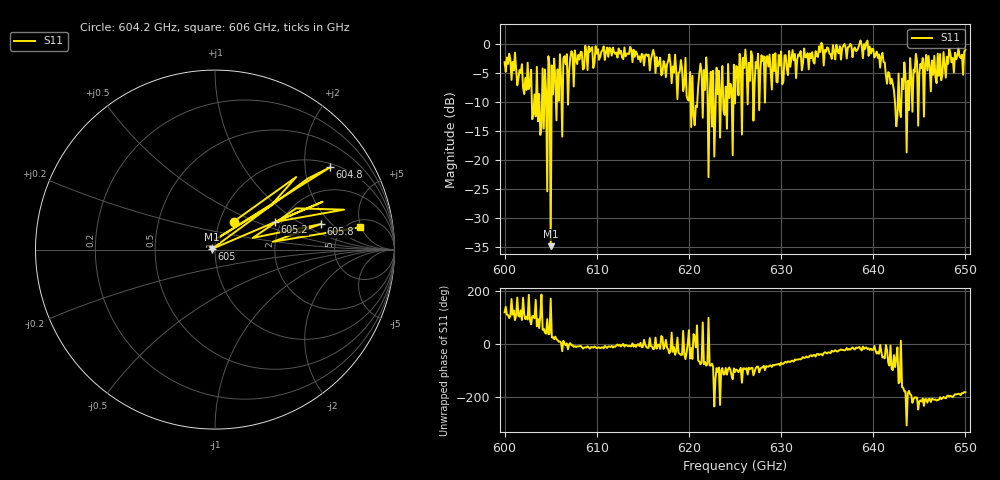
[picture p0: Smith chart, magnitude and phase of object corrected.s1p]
!Created with skrf (http://scikit-rf.org).
# GHz S MA R 50.0
!freq magS11 angS11
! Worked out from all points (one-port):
!   401 points, 600 GHz to 650 GHz, reference 50 ohm
!   lowest |S11| = -34.9 dB at 605 GHz (marker M1), VSWR 1.04, Z = 48.3 + j0.304 ohm
!   |S11| at or under -10 dB: 602.9569 GHz to 603.2003 GHz (243.4 MHz wide, 0.0404 % of centre); 620.4594 GHz to 620.9061 GHz (446.8 MHz wide, 0.072 % of centre); 642.3581 GHz to 642.6651 GHz (307 MHz wide, 0.0478 % of centre)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
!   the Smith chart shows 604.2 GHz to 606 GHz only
!   S11 on the Smith chart (normalised r, x): 604.2 GHz: 1.17, +0.37; 604.8 GHz: 1.12, +2.71; 605 GHz: 0.97, +0.01; 605.2 GHz: 1.85, +0.66; 605.8 GHz: 3.35, +1.51; 606 GHz: 6.37, +4.84
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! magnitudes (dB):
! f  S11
! 600 GHz  -3.1
! 602.6 GHz  -7.7
! 603.8 GHz  -8.6
! 604.2 GHz  -14.6
! 604.6 GHz  -25.4
! 604.8 GHz  -2.1
! 605 GHz  -34.9
! 605.2 GHz  -8.7
! 605.4 GHz  -2.5
! 605.8 GHz  -4.3
! 606 GHz  -1.7
! 606.2 GHz  -16.0
! 612.5 GHz  -1.6
! 618.8 GHz  -9.5
! 619.4 GHz  -8.1
! 620.5 GHz  -12.2
! 621.4 GHz  -4.7
! 622.2 GHz  -8.8
! 625 GHz  -10.2
! 625.4 GHz  -8.8
! 631.2 GHz  -1.0
! 637.5 GHz  0.1
! 640.9 GHz  -2.1
! 642.8 GHz  -5.1
! 643.2 GHz  -7.7
! 643.8 GHz  -6.3
! 645.9 GHz  -4.5
! 650 GHz  -1.0
